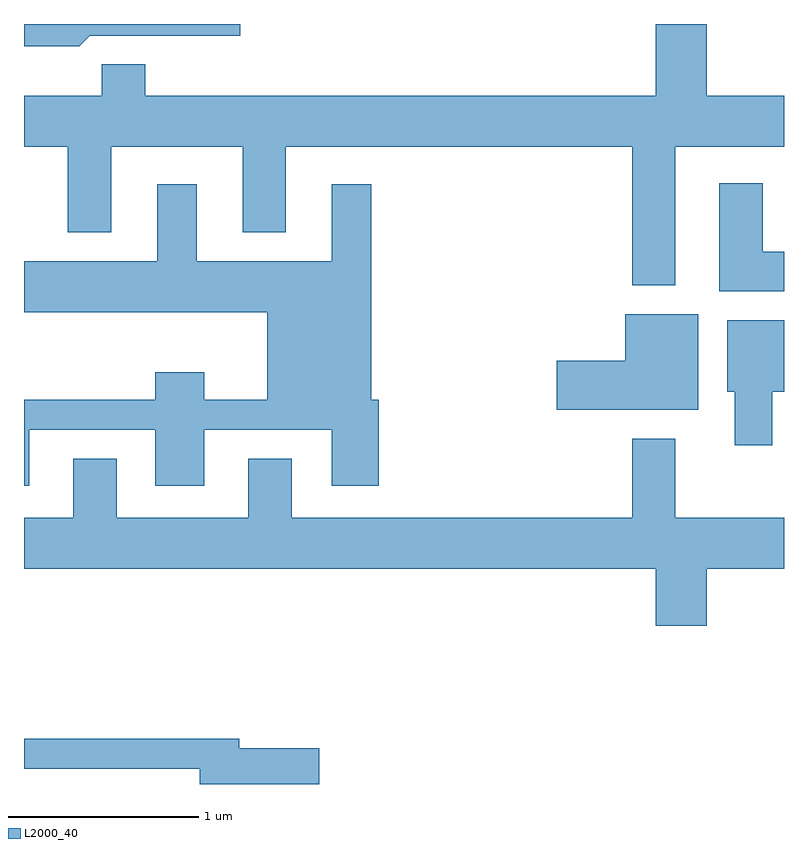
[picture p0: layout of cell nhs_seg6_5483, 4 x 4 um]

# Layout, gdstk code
import gdstk
lib = gdstk.Library(unit=1e-6, precision=1e-09)
def P(c, l, *ps):  # polygons
    for p in ps: c.add(gdstk.Polygon(p, *l))
L2000_40 = (2000, 40)

nhs_seg6_5483 = lib.new_cell('nhs_seg6_5483')
P(nhs_seg6_5483, L2000_40, [(351.957,1626.101),(352.748,1626.101),(352.748,1626.162),(351.611,1626.162),(351.611,1626.046),(351.902,1626.046)],
  [(355.039,1625.516),(355.611,1625.516),(355.611,1625.784),(355.204,1625.784),(355.204,1626.162),(354.936,1626.162),(354.936,1625.784),(352.249,1625.784),(352.249,1625.949),(352.021,1625.949),(352.021,1625.784),(351.611,1625.784),(351.611,1625.516),(351.841,1625.516),(351.841,1625.066),(352.069,1625.066),(352.069,1625.516),(352.761,1625.516),(352.761,1625.066),(352.989,1625.066),(352.989,1625.516),(354.811,1625.516),(354.811,1624.786),(355.039,1624.786)],
  [(355.611,1624.964),(355.499,1624.964),(355.499,1625.324),(355.271,1625.324),(355.271,1624.756),(355.611,1624.756)],
  [(351.639,1624.026),(352.301,1624.026),(352.301,1623.731),(352.559,1623.731),(352.559,1624.026),(353.231,1624.026),(353.231,1623.731),(353.479,1623.731),(353.479,1624.184),(353.439,1624.184),(353.439,1625.319),(353.231,1625.319),(353.231,1624.914),(352.519,1624.914),(352.519,1625.319),(352.311,1625.319),(352.311,1624.914),(351.611,1624.914),(351.611,1624.646),(352.891,1624.646),(352.891,1624.184),(352.559,1624.184),(352.559,1624.329),(352.301,1624.329),(352.301,1624.184),(351.611,1624.184),(351.611,1623.731),(351.639,1623.731)],
  [(355.159,1624.634),(354.776,1624.634),(354.776,1624.389),(354.416,1624.389),(354.416,1624.131),(355.159,1624.131)],
  [(355.549,1624.226),(355.611,1624.226),(355.611,1624.604),(355.311,1624.604),(355.311,1624.226),(355.351,1624.226),(355.351,1623.946),(355.549,1623.946)],
  [(355.204,1623.296),(355.611,1623.296),(355.611,1623.564),(355.039,1623.564),(355.039,1623.979),(354.811,1623.979),(354.811,1623.564),(353.019,1623.564),(353.019,1623.874),(352.791,1623.874),(352.791,1623.564),(352.099,1623.564),(352.099,1623.874),(351.871,1623.874),(351.871,1623.564),(351.611,1623.564),(351.611,1623.296),(354.936,1623.296),(354.936,1622.996),(355.204,1622.996)],
  [(353.164,1622.349),(352.744,1622.349),(352.744,1622.399),(351.611,1622.399),(351.611,1622.241),(352.536,1622.241),(352.536,1622.162),(353.164,1622.162)])

lib.write_gds('nhs_seg6_5483.gds')
